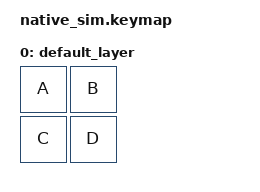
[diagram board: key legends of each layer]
/*
 * Test: slow-release-rolling
 *
 * combo_x: positions <0 1> → X (slow-release)
 * combo_y: positions <2 3> → Y (normal release)
 *
 * With slow-release, combo_x should NOT release until both keys 0 AND 1
 * are released.  Normal release combo_y releases on first key-up.
 *
 * Sequence:
 *   press(0, 0ms), press(1, 10ms),       -- combo_x activates (slow-release)
 *   press(2, 10ms), press(3, 10ms),       -- combo_y activates
 *   release(2, 200ms),                    -- combo_y releases (normal: first key up)
 *   release(0, 10ms),                     -- combo_x still held (slow: not all released)
 *   release(3, 10ms),                     -- combo_y fully deactivated
 *   release(1, 10ms)                      -- combo_x now releases (all keys up)
 *
 * Expected: press X, press Y, release Y, release X
 */

#include <dt-bindings/zmk/keys.h>
#include <behaviors.dtsi>
#include <dt-bindings/zmk/kscan_mock.h>

/ {
    rolling_combos {
        compatible = "zmk,rolling-combos";
        combo_x {
            timeout-ms = <50>;
            key-positions = <0 1>;
            bindings = <&kp X>;
            slow-release;
        };
        combo_y {
            timeout-ms = <50>;
            key-positions = <2 3>;
            bindings = <&kp Y>;
        };
    };

    keymap {
        compatible = "zmk,keymap";
        default_layer {
            bindings = <
                &kp A &kp B
                &kp C &kp D
            >;
        };
    };
};

&kscan {
    events = <
        ZMK_MOCK_PRESS(0, 0, 0)
        ZMK_MOCK_PRESS(0, 1, 10)
        ZMK_MOCK_PRESS(1, 0, 10)
        ZMK_MOCK_PRESS(1, 1, 10)
        ZMK_MOCK_RELEASE(1, 0, 200)
        ZMK_MOCK_RELEASE(0, 0, 10)
        ZMK_MOCK_RELEASE(1, 1, 10)
        ZMK_MOCK_RELEASE(0, 1, 10)
    >;
};
